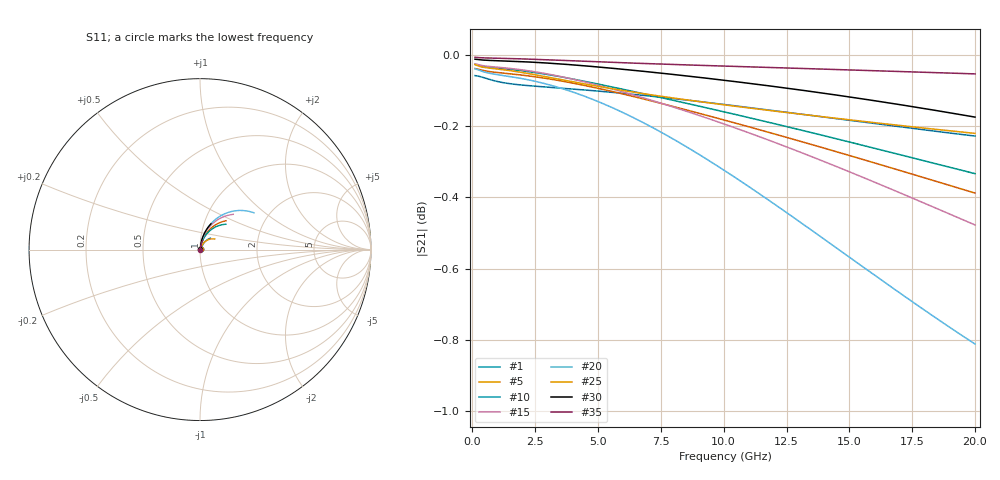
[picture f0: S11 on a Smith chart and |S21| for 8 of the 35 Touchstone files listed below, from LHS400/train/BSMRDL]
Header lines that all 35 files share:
! Touchstone file exported from HFSS 2026.1.0
!  Design:  BSMRDL
! Variables:
! Terminal data exported
# GHz S MA R 50.000000
Fixed: h_ox = 20um, h_rdl = 5um, h_sub = 80um, h_tmrdl = 5um, h_tsv = 80um, h_via = 3um, l_tmrdl = 200um, m_sub = 200um, r_tsv = 6um, s_tmrdl = 10um, w_sub = 500um, w_tmrdl = 12um, x_tsv_center1 = 206um
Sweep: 100 MHz to 20 GHz
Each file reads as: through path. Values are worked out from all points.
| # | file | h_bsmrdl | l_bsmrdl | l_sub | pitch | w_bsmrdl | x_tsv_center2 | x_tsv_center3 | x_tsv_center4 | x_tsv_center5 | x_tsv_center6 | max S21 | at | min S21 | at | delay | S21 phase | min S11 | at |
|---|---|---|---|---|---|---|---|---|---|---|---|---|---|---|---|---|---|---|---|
| 1 | dut301.s2p | 2.61um | 518.6um | 918.6um | 14.53um | 10.76um | 735.36um | 947.36um | 1476.72um | 1688.72um | 2218.08um | -0.06 dB | 100 MHz | -0.2 dB | 20 GHz | 4.02 ps | -15 deg at 10.1 GHz | -43.5 dB | 100 MHz |
| 2 | dut302.s2p | 2.83um | 991.27um | 1391.27um | 33.72um | 16.61um | 1213.88um | 1425.88um | 2433.76um | 2645.76um | 3653.64um | -0.07 dB | 100 MHz | -1.2 dB | 20 GHz | 8.43 ps | -33 deg at 10.1 GHz | -41.6 dB | 100 MHz |
| 3 | dut304.s2p | 3.33um | 260.9um | 660.9um | 59.47um | 25.37um | 492.27um | 704.27um | 990.54um | 1202.54um | 1488.81um | -0.01 dB | 100 MHz | -0.3 dB | 20 GHz | 3.06 ps | -11 deg at 10.1 GHz | -54.3 dB | 100 MHz |
| 4 | dut305.s2p | 2.32um | 873.81um | 1273.81um | 33.76um | 24.41um | 1104.22um | 1316.22um | 2214.44um | 2426.44um | 3324.66um | -0.05 dB | 100 MHz | -0.4 dB | 20 GHz | 7.14 ps | -27 deg at 10.1 GHz | -44.3 dB | 100 MHz |
| 5 | dut306.s2p | 3.98um | 638.85um | 1038.85um | 23um | 13.44um | 858.29um | 1070.29um | 1722.58um | 1934.58um | 2586.87um | -0.04 dB | 100 MHz | -0.4 dB | 20 GHz | 5.23 ps | -20 deg at 10.1 GHz | -46.7 dB | 100 MHz |
| 6 | dut307.s2p | 3.08um | 396.01um | 796.01um | 38.3um | 17.95um | 619.96um | 831.96um | 1245.92um | 1457.92um | 1871.88um | -0.02 dB | 100 MHz | -0.4 dB | 20 GHz | 3.91 ps | -15 deg at 10.1 GHz | -49.9 dB | 100 MHz |
| 7 | dut308.s2p | 2.89um | 702.34um | 1102.34um | 38.75um | 28.29um | 936.63um | 1148.63um | 1879.26um | 2091.26um | 2821.89um | -0.03 dB | 100 MHz | -0.3 dB | 20 GHz | 5.83 ps | -22 deg at 10.1 GHz | -48.5 dB | 100 MHz |
| 8 | dut309.s2p | 4.09um | 889.03um | 1289.03um | 25.27um | 19.06um | 1114.09um | 1326.09um | 2234.18um | 2446.18um | 3354.27um | -0.04 dB | 100 MHz | -0.3 dB | 20 GHz | 6.87 ps | -25 deg at 10.1 GHz | -47.0 dB | 100 MHz |
| 9 | dut310.s2p | 4.42um | 240.94um | 640.94um | 54.89um | 23.71um | 470.65um | 682.65um | 947.3um | 1159.3um | 1423.95um | -0.01 dB | 100 MHz | -0.2 dB | 20 GHz | 2.72 ps | -10 deg at 10.1 GHz | -56.2 dB | 100 MHz |
| 10 | dut311.s2p | 4.28um | 709.6um | 1109.6um | 32.36um | 21.34um | 936.94um | 1148.94um | 1879.88um | 2091.88um | 2822.82um | -0.03 dB | 100 MHz | -0.3 dB | 20 GHz | 5.8 ps | -22 deg at 10.1 GHz | -49.3 dB | 100 MHz |
| 11 | dut312.s2p | 4.25um | 428.82um | 828.82um | 25.08um | 12.68um | 647.5um | 859.5um | 1301um | 1513um | 1954.5um | -0.03 dB | 100 MHz | -0.3 dB | 20 GHz | 3.75 ps | -14 deg at 10.1 GHz | -49.8 dB | 100 MHz |
| 12 | dut313.s2p | 3.17um | 314.39um | 714.39um | 17.56um | 11.29um | 531.68um | 743.68um | 1069.36um | 1281.36um | 1607.04um | -0.03 dB | 100 MHz | -0.2 dB | 20 GHz | 2.58 ps | -10 deg at 10.1 GHz | -49.5 dB | 100 MHz |
| 13 | dut314.s2p | 5.81um | 401.98um | 801.98um | 28.71um | 23.12um | 631.1um | 843.1um | 1268.2um | 1480.2um | 1905.3um | -0.01 dB | 100 MHz | -0.1 dB | 20 GHz | 3.13 ps | -12 deg at 10.1 GHz | -57.3 dB | 100 MHz |
| 14 | dut315.s2p | 4.37um | 916.78um | 1316.78um | 29.46um | 25.48um | 1148.26um | 1360.26um | 2302.52um | 2514.52um | 3456.78um | -0.03 dB | 100 MHz | -0.3 dB | 20 GHz | 7.06 ps | -26 deg at 10.1 GHz | -49.4 dB | 100 MHz |
| 15 | dut316.s2p | 4um | 655.25um | 1055.25um | 38.42um | 22.27um | 883.52um | 1095.52um | 1773.04um | 1985.04um | 2662.56um | -0.02 dB | 100 MHz | -0.5 dB | 20 GHz | 5.68 ps | -21 deg at 10.1 GHz | -49.2 dB | 100 MHz |
| 16 | dut317.s2p | 2.65um | 858.82um | 1258.82um | 36.11um | 22.37um | 1087.19um | 1299.19um | 2180.38um | 2392.38um | 3273.57um | -0.05 dB | 100 MHz | -0.6 dB | 20 GHz | 7.26 ps | -27 deg at 10.1 GHz | -44.5 dB | 100 MHz |
| 17 | dut318.s2p | 5.1um | 154.29um | 554.29um | 36.92um | 29.16um | 389.45um | 601.45um | 784.9um | 996.9um | 1180.35um | 0.00 dB | 100 MHz | 0.0 dB | 20 GHz | 1.35 ps | -5 deg at 10.1 GHz | -64.1 dB | 100 MHz |
| 18 | dut320.s2p | 2.77um | 847.24um | 1247.24um | 42.93um | 21.47um | 1074.71um | 1286.71um | 2155.42um | 2367.42um | 3236.13um | -0.05 dB | 100 MHz | -1.0 dB | 20 GHz | 7.53 ps | -29 deg at 10.1 GHz | -44.2 dB | 100 MHz |
| 19 | dut321.s2p | 4.56um | 287.21um | 687.21um | 57.12um | 24.71um | 517.92um | 729.92um | 1041.84um | 1253.84um | 1565.76um | -0.01 dB | 100 MHz | -0.3 dB | 20 GHz | 3.17 ps | -12 deg at 10.1 GHz | -55.2 dB | 100 MHz |
| 20 | dut322.s2p | 2.72um | 855.95um | 1255.95um | 47.07um | 26.93um | 1088.88um | 1300.88um | 2183.76um | 2395.76um | 3278.64um | -0.04 dB | 100 MHz | -0.8 dB | 20 GHz | 7.48 ps | -29 deg at 10.1 GHz | -45.6 dB | 100 MHz |
| 21 | dut323.s2p | 4.11um | 278.56um | 678.56um | 33.75um | 24.25um | 508.81um | 720.81um | 1023.62um | 1235.62um | 1538.43um | -0.01 dB | 100 MHz | -0.1 dB | 20 GHz | 2.39 ps | -9 deg at 10.1 GHz | -57.3 dB | 100 MHz |
| 22 | dut324.s2p | 5.53um | 299.16um | 699.16um | 31.09um | 20.25um | 525.41um | 737.41um | 1056.82um | 1268.82um | 1588.23um | -0.01 dB | 100 MHz | -0.1 dB | 20 GHz | 2.53 ps | -9 deg at 10.1 GHz | -57.7 dB | 100 MHz |
| 23 | dut325.s2p | 5.89um | 486.9um | 886.9um | 33.51um | 19.56um | 712.46um | 924.46um | 1430.92um | 1642.92um | 2149.38um | -0.01 dB | 100 MHz | -0.2 dB | 20 GHz | 4.11 ps | -15 deg at 10.1 GHz | -53.6 dB | 100 MHz |
| 24 | dut326.s2p | 5.25um | 470.49um | 870.49um | 27.28um | 22.67um | 699.16um | 911.16um | 1404.32um | 1616.32um | 2109.48um | -0.01 dB | 100 MHz | -0.1 dB | 20 GHz | 3.64 ps | -13 deg at 10.1 GHz | -55.4 dB | 100 MHz |
| 25 | dut327.s2p | 5.48um | 803.99um | 1203.99um | 25.64um | 18.4um | 1028.39um | 1240.39um | 2062.78um | 2274.78um | 3097.17um | -0.03 dB | 100 MHz | -0.2 dB | 20 GHz | 6.18 ps | -23 deg at 10.1 GHz | -49.6 dB | 100 MHz |
| 26 | dut328.s2p | 4.84um | 192.42um | 592.42um | 39um | 25.87um | 424.29um | 636.29um | 854.58um | 1066.58um | 1284.87um | -0.01 dB | 100 MHz | -0.1 dB | 20 GHz | 1.79 ps | -7 deg at 10.1 GHz | -60.9 dB | 100 MHz |
| 27 | dut329.s2p | 5.08um | 210.86um | 610.86um | 38.44um | 23.21um | 440.07um | 652.07um | 886.14um | 1098.14um | 1332.21um | -0.01 dB | 100 MHz | -0.1 dB | 20 GHz | 1.99 ps | -7 deg at 10.1 GHz | -59.7 dB | 100 MHz |
| 28 | dut330.s2p | 3.26um | 120.7um | 520.7um | 53.21um | 28.43um | 355.13um | 567.13um | 716.26um | 928.26um | 1077.39um | -0.01 dB | 100 MHz | -0.1 dB | 20 GHz | 1.53 ps | -6 deg at 10.1 GHz | -60.3 dB | 100 MHz |
| 29 | dut331.s2p | 3.84um | 530.69um | 930.69um | 31.07um | 18.21um | 754.9um | 966.9um | 1515.8um | 1727.8um | 2276.7um | -0.02 dB | 100 MHz | -0.3 dB | 20 GHz | 4.57 ps | -17 deg at 10.1 GHz | -49.8 dB | 100 MHz |
| 30 | dut332.s2p | 3.75um | 300.86um | 700.86um | 44.47um | 26.28um | 533.14um | 745.14um | 1072.28um | 1284.28um | 1611.42um | -0.01 dB | 100 MHz | -0.2 dB | 20 GHz | 2.9 ps | -11 deg at 10.1 GHz | -55.5 dB | 100 MHz |
| 31 | dut334.s2p | 4.86um | 221.86um | 621.86um | 26.44um | 22.75um | 450.61um | 662.61um | 907.22um | 1119.22um | 1363.83um | -0.01 dB | 100 MHz | -0.1 dB | 20 GHz | 1.78 ps | -7 deg at 10.1 GHz | -60.6 dB | 100 MHz |
| 32 | dut335.s2p | 2.56um | 967.05um | 1367.05um | 55.88um | 29.44um | 1202.49um | 1414.49um | 2410.98um | 2622.98um | 3619.47um | -0.04 dB | 100 MHz | -1.1 dB | 20 GHz | 8.51 ps | -33 deg at 10.1 GHz | -44.3 dB | 100 MHz |
| 33 | dut337.s2p | 5.53um | 612.06um | 1012.06um | 44.54um | 21.64um | 839.7um | 1051.7um | 1685.4um | 1897.4um | 2531.1um | -0.02 dB | 100 MHz | -0.6 dB | 20 GHz | 5.51 ps | -21 deg at 10.1 GHz | -50.7 dB | 100 MHz |
| 34 | dut338.s2p | 5.72um | 779.7um | 1179.7um | 35.9um | 11.71um | 997.41um | 1209.41um | 2000.82um | 2212.82um | 3004.23um | -0.04 dB | 100 MHz | -1.2 dB | 20 GHz | 7 ps | -27 deg at 10.1 GHz | -45.6 dB | 100 MHz |
| 35 | dut339.s2p | 4.94um | 186.13um | 586.13um | 37.56um | 26.95um | 419.08um | 631.08um | 844.16um | 1056.16um | 1269.24um | -0.01 dB | 100 MHz | -0.1 dB | 20 GHz | 1.66 ps | -6 deg at 10.1 GHz | -61.8 dB | 100 MHz |
